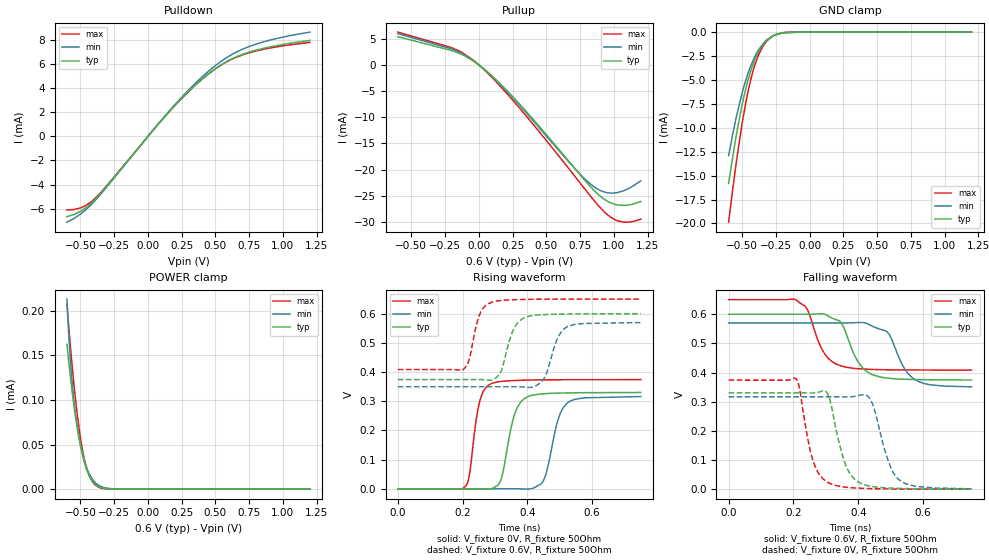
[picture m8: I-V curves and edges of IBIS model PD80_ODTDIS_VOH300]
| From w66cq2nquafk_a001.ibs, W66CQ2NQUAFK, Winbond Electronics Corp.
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[Model]   PD80_ODTDIS_VOH300
Model_type   I/O
Polarity   Non-Inverting
Enable   Active-Low
Vinl = 0.08
Vinh = 0.22
Vmeas = 0.15
Vref = 0
Cref = 0pF
|   typ   min   max
C_comp   0.85pF   0.80pF   0.90pF
[Voltage Range]   0.6   0.57   0.65
[Temperature Range]   25   105   -40
[Pullup Reference]   0.6   0.57   0.65
[Pulldown Reference]   0   0   0
[Power Clamp Reference]   0.6   0.57   0.65
[GND Clamp Reference]   0   0   0
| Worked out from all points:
|   slope of the pulldown table from 0 to 0.09 V, typ, clamps not added: 74.8 ohm
|   slope of the pullup table from 0 to 0.09 V, typ, clamps not added: 46.4 ohm
|   GND clamp passes 1 mA (typ) near -0.33 V on its own axis
|   falling waveform, V_fixture 0.6V, R_fixture 50Ohm: 20-80 % time 56.1ps typ, 57.6ps min, 53ps max; typ from 0.6 V to 0.374 V
|   rising waveform, V_fixture 0V, R_fixture 50Ohm: 20-80 % time 37.2ps typ, 39.2ps min, 28.4ps max; typ from 0 V to 0.33 V
|   rising waveform, V_fixture 0.6V, R_fixture 50Ohm: 20-80 % time 37.6ps typ, 39.8ps min, 31ps max; typ from 0.374 V to 0.6 V
|   falling waveform, V_fixture 0V, R_fixture 50Ohm: 20-80 % time 46.9ps typ, 49.8ps min, 42.7ps max; typ from 0.33 V to 0 V
[Pulldown]
|   Voltage   I(typ)   I(min)   I(max)
-600mV    -6.681mA   -7.134mA   -6.124mA
-494.7mV  -6.198mA   -6.419mA   -5.922mA
-451.8mV  -5.863mA   -6.015mA   -5.687mA
-378mV    -5.075mA   -5.168mA   -5mA
-293.9mV  -3.99mA    -4.062mA   -3.951mA
166.2mV   2.173mA    2.223mA    2.168mA
349.1mV   4.258mA    4.401mA    4.242mA
502.4mV   5.66mA     5.916mA    5.637mA
625.5mV   6.474mA    6.841mA    6.443mA
758.9mV   7.043mA    7.519mA    6.985mA
926.5mV   7.499mA    8.075mA    7.398mA
1.2V      7.988mA    8.68mA     7.822mA
[GND Clamp]
|   Voltage   I(typ)   I(min)   I(max)
-600mV    -15.82mA   -12.92mA   -19.87mA
-546.1mV  -11.05mA   -9.102mA   -13.94mA
-499.7mV  -7.606mA   -6.362mA   -9.544mA
-474.6mV  -6.032mA   -5.127mA   -7.516mA
-434.3mV  -3.986mA   -3.48mA    -4.86mA
-389.4mV  -2.369mA   -2.122mA   -2.774mA
-345.2mV  -1.304mA   -1.225mA   -1.463mA
-316.6mV  -840uA     -816.4uA   -913.1uA
-267.2mV  -345.8uA   -370.4uA   -350.2uA
-198.3mV  -77.01uA   -100.8uA   -59.86uA
-59.4mV   -1.417uA   -4.05uA    -412.5nA
1.2V      0A         0A         0A
[Pullup]
|   Voltage   I(typ)   I(min)   I(max)
-600mV    5.379mA    5.957mA    6.249mA
-198.3mV  2.687mA    2.98mA     3.242mA
-113.4mV  1.826mA    1.965mA    2.162mA
-3.3mV    60.53uA    66.14uA    74.08uA
124.8mV   -2.773mA   -2.879mA   -3.138mA
272.7mV   -6.677mA   -6.882mA   -7.376mA
741.8mV   -20.72mA   -20.66mA   -22.28mA
881.3mV   -24.67mA   -23.74mA   -26.75mA
958.2mV   -26.13mA   -24.46mA   -28.73mA
1.025V    -26.74mA   -24.41mA   -29.77mA
1.11V     -26.77mA   -23.63mA   -30.05mA
1.2V      -26.11mA   -22.16mA   -29.49mA
[POWER Clamp]
|   Voltage   I(typ)   I(min)   I(max)
-600mV    162.4uA    213.1uA    207.7uA
-581.8mV  136.1uA    161.3uA    173.3uA
-565.8mV  115.1uA    127.7uA    145.6uA
-542.4mV  87.72uA    91.56uA    109.2uA
-516.2mV  62uA       63.05uA    75.54uA
-499.3mV  48.19uA    49.17uA    56.5uA
-475.2mV  32.4uA     34.23uA    36.21uA
-456.3mV  22.98uA    25.17uA    24.5uA
-434.3mV  14.8uA     17.17uA    14.82uA
-386.8mV  5.153uA    6.76uA     4.313uA
-256.9mV  76.06nA    293.9nA    6.169nA
1.2V      0A         0A         0A
[Ramp]
R_load = 50
|   typ   min   max
dV/dt_r 1.9798E-01/3.7188E-11   1.8959E-01/3.9104E-11   2.2434E-01/2.8336E-11
dV/dt_f 1.3532E-01/5.5675E-11   1.3141E-01/5.7583E-11   1.4483E-01/5.2829E-11
[Falling Waveform]
V_fixture = 0.6V
V_fixture_min = 0.57V
V_fixture_max = 0.65V
R_fixture = 50Ohm
C_fixture = 0F
|   Time   V(typ)   V(min)   V(max)
0s        600mV      570mV      650mV
208ps     600mV      570mV      649.6mV
243ps     600mV      570mV      616.8mV
299ps     599.5mV    570mV      460.3mV
349ps     568.5mV    569.9mV    422.2mV
423ps     406.9mV    569.9mV    411.6mV
490ps     381mV      538.8mV    409.6mV
544ps     376.9mV    411.7mV    409mV
577ps     375.9mV    374.6mV    408.8mV
750ps     374.5mV    351mV      408.6mV
[Rising Waveform]
V_fixture = 0V
V_fixture_min = 0V
V_fixture_max = 0V
R_fixture = 50Ohm
C_fixture = 0F
|   Time   V(typ)   V(min)   V(max)
0s        6.127uV    27.72uV    1.206uV
211ps     5.649uV    27.73uV    11.34mV
251ps     36.61uV    27.79uV    290.7mV
291ps     698.3uV    27uV       361.5mV
320ps     36.23mV    32.43uV    368mV
359ps     249.3mV    55.24uV    371mV
389ps     307.7mV    -601.2uV   372.1mV
449ps     325.5mV    26.7mV     373.3mV
523ps     328.5mV    293.9mV    373.7mV
750ps     330mV      316mV      373.9mV
[Rising Waveform]
V_fixture = 0.6V
V_fixture_min = 0.57V
V_fixture_max = 0.65V
R_fixture = 50Ohm
C_fixture = 0F
|   Time   V(typ)   V(min)   V(max)
0s        374.3mV    349.6mV    408.6mV
202ps     374.3mV    349.6mV    408.5mV
220ps     374.3mV    349.6mV    440.9mV
254ps     374.4mV    349.6mV    600.4mV
291ps     372.5mV    349.6mV    639.6mV
388ps     584.7mV    348.5mV    648.7mV
450ps     596.6mV    375.3mV    649.6mV
491ps     598.2mV    509.8mV    649.8mV
522ps     598.8mV    554.7mV    649.9mV
750ps     600mV      569.5mV    650mV
[Falling Waveform]
|Gnd
V_fixture = 0V
V_fixture_min = 0V
V_fixture_max = 0V
R_fixture = 50Ohm
C_fixture = 0F
|   Time   V(typ)   V(min)   V(max)
0s        330mV      316.7mV    373.9mV
208ps     330mV      316.7mV    379.4mV
259ps     329.7mV    316.7mV    103mV
309ps     318.9mV    316.7mV    21.41mV
359ps     88.94mV    316.4mV    7.159mV
397ps     26.95mV    320.1mV    3.699mV
438ps     10.16mV    307.2mV    1.872mV
491ps     4.205mV    102.5mV    841uV
524ps     2.69mV     33.86mV    488.8uV
750ps     150.9uV    1.281mV    -14.2uV
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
